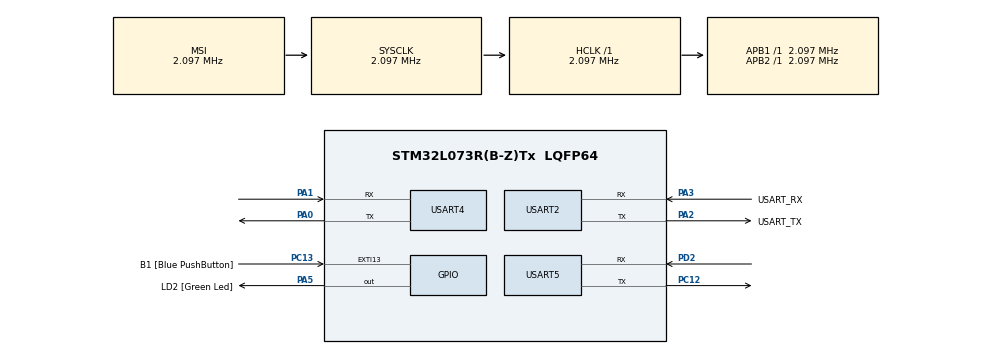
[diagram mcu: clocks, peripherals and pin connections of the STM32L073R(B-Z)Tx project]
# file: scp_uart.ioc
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FREERTOS.Tasks01=Host,40,128,HostTask,Default,NULL,Dynamic,NULL,NULL;Slave,40,128,SlaveTask,Default,NULL,Dynamic,NULL,NULL
FREERTOS.configUSE_NEWLIB_REENTRANT=1
Mcu.Family=STM32L0
Mcu.Name=STM32L073R(B-Z)Tx
Mcu.Package=LQFP64
NVIC.USART4_5_IRQn=true\:3\:0\:false\:false\:true\:true\:true\:true\:true
PA0.Mode=Asynchronous
PA0.Signal=USART4_TX
PA1.Mode=Asynchronous
PA1.Signal=USART4_RX
PA13.GPIO_Label=TMS
PA13.Mode=Serial_Wire
PA13.Signal=SYS_SWDIO
PA14.GPIO_Label=TCK
PA14.Mode=Serial_Wire
PA14.Signal=SYS_SWCLK
PA2.GPIO_Label=USART_TX
PA2.Mode=Asynchronous
PA2.Signal=USART2_TX
PA3.GPIO_Label=USART_RX
PA3.Mode=Asynchronous
PA3.Signal=USART2_RX
PA5.GPIO_Label=LD2 [Green Led]
PA5.Signal=GPIO_Output
PC12.Mode=Asynchronous
PC12.Signal=USART5_TX
PC13.GPIO_Label=B1 [Blue PushButton]
PC13.GPIO_ModeDefaultEXTI=GPIO_MODE_IT_FALLING
PC13.Signal=GPXTI13
PC14-OSC32_IN.Mode=LSE-External-Oscillator
PC14-OSC32_IN.Signal=RCC_OSC32_IN
PC15-OSC32_OUT.Mode=LSE-External-Oscillator
PC15-OSC32_OUT.Signal=RCC_OSC32_OUT
PD2.Mode=Asynchronous
PD2.Signal=USART5_RX
PH0-OSC_IN.Mode=HSE-External-Oscillator
PH0-OSC_IN.Signal=RCC_OSC_IN
PH1-OSC_OUT.Mode=HSE-External-Oscillator
PH1-OSC_OUT.Signal=RCC_OSC_OUT
ProjectManager.HeapSize=0x200
ProjectManager.StackSize=0x400
ProjectManager.TargetToolchain=STM32CubeIDE
RCC.AHBFreq_Value=2097000
RCC.APB1Freq_Value=2097000
RCC.APB1TimFreq_Value=2097000
RCC.APB2Freq_Value=2097000
RCC.APB2TimFreq_Value=2097000
RCC.HSE_VALUE=8000000
RCC.HSI16_VALUE=16000000
RCC.HSI48_VALUE=48000000
RCC.HSI_VALUE=16000000
RCC.MSI_VALUE=2097000
RCC.PLLSourceVirtual=RCC_PLLSOURCE_HSE
RCC.SYSCLKFreq_VALUE=2097000
RCC.VCOOutputFreq_Value=24000000
USART2.VirtualMode-Asynchronous=VM_ASYNC
USART4.VirtualMode-Asynchronous=VM_ASYNC
USART5.VirtualMode-Asynchronous=VM_ASYNC
VP_FREERTOS_VS_CMSIS_V2.Mode=CMSIS_V2
board=NUCLEO-L073RZ

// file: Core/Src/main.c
/* USER CODE BEGIN Header */
/**
  ******************************************************************************
  * @file           : main.c
  * @brief          : Main program body
  ******************************************************************************
  * @attention
  *
  * Copyright (c) 2022 STMicroelectronics.
  * All rights reserved.
  *
  * This software is licensed under terms that can be found in the LICENSE file
  * in the root directory of this software component.
  * If no LICENSE file comes with this software, it is provided AS-IS.
  *
  ******************************************************************************
  */
/* USER CODE END Header */
#include "main.h"
#include "cmsis_os.h"

/* USER CODE BEGIN Includes */
#include "SCP.h"
#include <stdio.h>
#include <string.h>
/* USER CODE END Includes */

/* USER CODE BEGIN PD */
#define READ_SYNC  ( 1 << 0 )
#define WRITE_SYNC ( 1 << 1 )
#define ALL_SYNC ( READ_SYNC | WRITE_SYNC )
/* USER CODE END PD */

UART_HandleTypeDef huart2;
UART_HandleTypeDef huart4;
UART_HandleTypeDef huart5;

/* Definitions for Host */
osThreadId_t HostHandle;
const osThreadAttr_t Host_attributes = {
  .name = "Host",
  .stack_size = 128 * 4,
  .priority = (osPriority_t) osPriorityHigh,
};
/* Definitions for Slave */
osThreadId_t SlaveHandle;
const osThreadAttr_t Slave_attributes = {
  .name = "Slave",
  .stack_size = 128 * 4,
  .priority = (osPriority_t) osPriorityHigh,
};

void SystemClock_Config(void);
static void MX_GPIO_Init(void);
static void MX_USART2_UART_Init(void);
static void MX_USART4_UART_Init(void);
static void MX_USART5_UART_Init(void);
void HostTask(void *argument);
void SlaveTask(void *argument);

/* USER CODE BEGIN PFP */
void HostOut(Host _host);
void SlaveOut(Slave _slave);
/* USER CODE END PFP */

/* USER CODE BEGIN 0 */
uint8_t hostBuffer[1024];
uint8_t slaveBuffer[1024];
char outputBuffer[1024];
const char* timeout = "\r\nResponse waiting timeout\r\n\n";
/* USER CODE END 0 */

int main(void)
{

  /* MCU Configuration--------------------------------------------------------*/

  /* Reset of all peripherals, Initializes the Flash interface and the Systick. */
  HAL_Init();

  /* Configure the system clock */
  SystemClock_Config();

  /* Initialize all configured peripherals */
  MX_GPIO_Init();
  MX_USART2_UART_Init();
  MX_USART4_UART_Init();
  MX_USART5_UART_Init();
  /* USER CODE BEGIN 2 */
    const char* reset = "\r\nRESET\r\n";
    HAL_UART_Transmit(&huart2, (uint8_t*)reset, 9, 10);

  /* USER CODE END 2 */

  /* Init scheduler */
  osKernelInitialize();

  /* Create the thread(s) */
  /* creation of Host */
  HostHandle = osThreadNew(HostTask, NULL, &Host_attributes);

  /* creation of Slave */
  SlaveHandle = osThreadNew(SlaveTask, NULL, &Slave_attributes);

  /* Start scheduler */
  osKernelStart();

  /* We should never get here as control is now taken by the scheduler */
  /* Infinite loop */
    while (1)
    {

    }
}

void SystemClock_Config(void)
{
  RCC_OscInitTypeDef RCC_OscInitStruct = {0};
  RCC_ClkInitTypeDef RCC_ClkInitStruct = {0};
  RCC_PeriphCLKInitTypeDef PeriphClkInit = {0};

  /** Configure the main internal regulator output voltage
  */
  __HAL_PWR_VOLTAGESCALING_CONFIG(PWR_REGULATOR_VOLTAGE_SCALE1);

  /** Initializes the RCC Oscillators according to the specified parameters
  * in the RCC_OscInitTypeDef structure.
  */
  RCC_OscInitStruct.OscillatorType = RCC_OSCILLATORTYPE_MSI;
  RCC_OscInitStruct.MSIState = RCC_MSI_ON;
  RCC_OscInitStruct.MSICalibrationValue = 0;
  RCC_OscInitStruct.MSIClockRange = RCC_MSIRANGE_5;
  RCC_OscInitStruct.PLL.PLLState = RCC_PLL_NONE;
  if (HAL_RCC_OscConfig(&RCC_OscInitStruct) != HAL_OK)
  {
    Error_Handler();
  }

  /** Initializes the CPU, AHB and APB buses clocks
  */
  RCC_ClkInitStruct.ClockType = RCC_CLOCKTYPE_HCLK|RCC_CLOCKTYPE_SYSCLK
                              |RCC_CLOCKTYPE_PCLK1|RCC_CLOCKTYPE_PCLK2;
  RCC_ClkInitStruct.SYSCLKSource = RCC_SYSCLKSOURCE_MSI;
  RCC_ClkInitStruct.AHBCLKDivider = RCC_SYSCLK_DIV1;
  RCC_ClkInitStruct.APB1CLKDivider = RCC_HCLK_DIV1;
  RCC_ClkInitStruct.APB2CLKDivider = RCC_HCLK_DIV1;

  if (HAL_RCC_ClockConfig(&RCC_ClkInitStruct, FLASH_LATENCY_0) != HAL_OK)
  {
    Error_Handler();
  }
  PeriphClkInit.PeriphClockSelection = RCC_PERIPHCLK_USART2;
  PeriphClkInit.Usart2ClockSelection = RCC_USART2CLKSOURCE_PCLK1;
  if (HAL_RCCEx_PeriphCLKConfig(&PeriphClkInit) != HAL_OK)
  {
    Error_Handler();
  }
}

static void MX_USART2_UART_Init(void)
{

  huart2.Instance = USART2;
  huart2.Init.BaudRate = 115200;
  huart2.Init.WordLength = UART_WORDLENGTH_8B;
  huart2.Init.StopBits = UART_STOPBITS_1;
  huart2.Init.Parity = UART_PARITY_NONE;
  huart2.Init.Mode = UART_MODE_TX_RX;
  huart2.Init.HwFlowCtl = UART_HWCONTROL_NONE;
  huart2.Init.OverSampling = UART_OVERSAMPLING_16;
  huart2.Init.OneBitSampling = UART_ONE_BIT_SAMPLE_DISABLE;
  huart2.AdvancedInit.AdvFeatureInit = UART_ADVFEATURE_NO_INIT;
  if (HAL_UART_Init(&huart2) != HAL_OK)
  {
    Error_Handler();
  }

}

static void MX_USART4_UART_Init(void)
{

  huart4.Instance = USART4;
  huart4.Init.BaudRate = 115200;
  huart4.Init.WordLength = UART_WORDLENGTH_8B;
  huart4.Init.StopBits = UART_STOPBITS_1;
  huart4.Init.Parity = UART_PARITY_NONE;
  huart4.Init.Mode = UART_MODE_TX_RX;
  huart4.Init.HwFlowCtl = UART_HWCONTROL_NONE;
  huart4.Init.OverSampling = UART_OVERSAMPLING_16;
  huart4.Init.OneBitSampling = UART_ONE_BIT_SAMPLE_DISABLE;
  huart4.AdvancedInit.AdvFeatureInit = UART_ADVFEATURE_NO_INIT;
  if (HAL_UART_Init(&huart4) != HAL_OK)
  {
    Error_Handler();
  }

}

static void MX_USART5_UART_Init(void)
{

  huart5.Instance = USART5;
  huart5.Init.BaudRate = 115200;
  huart5.Init.WordLength = UART_WORDLENGTH_8B;
  huart5.Init.StopBits = UART_STOPBITS_1;
  huart5.Init.Parity = UART_PARITY_NONE;
  huart5.Init.Mode = UART_MODE_TX_RX;
  huart5.Init.HwFlowCtl = UART_HWCONTROL_NONE;
  huart5.Init.OverSampling = UART_OVERSAMPLING_16;
  huart5.Init.OneBitSampling = UART_ONE_BIT_SAMPLE_DISABLE;
  huart5.AdvancedInit.AdvFeatureInit = UART_ADVFEATURE_NO_INIT;
  if (HAL_UART_Init(&huart5) != HAL_OK)
  {
    Error_Handler();
  }

}

static void MX_GPIO_Init(void)
{
  GPIO_InitTypeDef GPIO_InitStruct = {0};

  /* GPIO Ports Clock Enable */
  __HAL_RCC_GPIOC_CLK_ENABLE();
  __HAL_RCC_GPIOH_CLK_ENABLE();
  __HAL_RCC_GPIOA_CLK_ENABLE();
  __HAL_RCC_GPIOD_CLK_ENABLE();

  /*Configure GPIO pin Output Level */
  HAL_GPIO_WritePin(LD2_GPIO_Port, LD2_Pin, GPIO_PIN_RESET);

  /*Configure GPIO pin : B1_Pin */
  GPIO_InitStruct.Pin = B1_Pin;
  GPIO_InitStruct.Mode = GPIO_MODE_IT_FALLING;
  GPIO_InitStruct.Pull = GPIO_NOPULL;
  HAL_GPIO_Init(B1_GPIO_Port, &GPIO_InitStruct);

  /*Configure GPIO pin : LD2_Pin */
  GPIO_InitStruct.Pin = LD2_Pin;
  GPIO_InitStruct.Mode = GPIO_MODE_OUTPUT_PP;
  GPIO_InitStruct.Pull = GPIO_NOPULL;
  GPIO_InitStruct.Speed = GPIO_SPEED_FREQ_LOW;
  HAL_GPIO_Init(LD2_GPIO_Port, &GPIO_InitStruct);

}

/* USER CODE BEGIN 4 */
void HostOut(Host _host) {

    uint16_t len = 0;

    strncpy(outputBuffer, "Host: ", 7);
    HAL_UART_Transmit(&huart2, (uint8_t*)outputBuffer, 6, 100);
    if(REQ_TYPE(_host)) {
        //read
        strncpy(outputBuffer, "(read)\r\nRegister: ", 19);
        HAL_UART_Transmit(&huart2, (uint8_t*)outputBuffer, 18, 100);

    } else {
        strncpy(outputBuffer, "(write)\r\nRegister: ", 20);
        HAL_UART_Transmit(&huart2, (uint8_t*)outputBuffer, 19, 100);
    }
    len = sprintf(outputBuffer, "%u", _host.header.cmd1);
    HAL_UART_Transmit(&huart2, (uint8_t*)outputBuffer, len, 100);
    strncpy(outputBuffer, "\r\nData: ",9);
    HAL_UART_Transmit(&huart2, (uint8_t*)outputBuffer, 8, 100);

    len = _host.header.cmd2;

    int index = 0;
    for (int i=0; i<len; i++)
        index += sprintf(&outputBuffer[index], "%u ", *(GET_DATA_PTR(_host) + i));
    index += sprintf(&outputBuffer[index], "\r\n\n ");

    HAL_UART_Transmit(&huart2, (uint8_t*)outputBuffer, index, 100);

}

void SlaveOut(Slave _slave) {

    uint16_t len = 0;

    strncpy(outputBuffer, "Slave: ", 8);
    HAL_UART_Transmit(&huart2, (uint8_t*)outputBuffer, 7, 100);
    if(REQ_TYPE(_slave)) {
        //read
        strncpy(outputBuffer, "(read)\r\nRegister: ", 19);
        HAL_UART_Transmit(&huart2, (uint8_t*)outputBuffer, 18, 100);

    } else {
        strncpy(outputBuffer, "(write)\r\nRegister: ", 20);
        HAL_UART_Transmit(&huart2, (uint8_t*)outputBuffer, 19, 100);
    }
    len = sprintf(outputBuffer, "%u", _slave.header.cmd1);
    HAL_UART_Transmit(&huart2, (uint8_t*)outputBuffer, len, 100);
    strncpy(outputBuffer, "\r\nData: ", 9);
    HAL_UART_Transmit(&huart2, (uint8_t*)outputBuffer, 8, 100);

    len = _slave.header.cmd2;

    int index = 0;
    for (int i=0; i<len; i++)
        index += sprintf(&outputBuffer[index], "%u ", *(GET_DATA_PTR(_slave) + i));
    index += sprintf(&outputBuffer[index], "\r\n\n ");

    HAL_UART_Transmit(&huart2, (uint8_t*)outputBuffer, index, 100);

}

/* USER CODE END 4 */

void HostTask(void *argument)
{
  /* USER CODE BEGIN 5 */
    /* Infinite loop */

    Host pc;
    uint8_t byte = 0;
    uint8_t* data;
    TickType_t currentTick;

    for(;;)
    {
        CreateHost(&pc, hostBuffer, 1024, addr_linux, 0x18, REQR);
        HostOut(pc);

        data = pc.CreateRequest(&pc);

        for(int i = 0; i < REQUEST_SIZE(pc); i++) {
        	byte =  *(data + i);
        	HAL_UART_Transmit_IT(&huart4, data +i, 1);
        }

        while(pc.header.mode != finish)
        	if (HAL_UART_Receive_IT(&huart4, &byte, 1) == HAL_OK)
        	    pc.Read(&pc, byte);

        if(pc.IsValid(&pc) == no_error) {

            //OUTPUT
        }
        currentTick = xTaskGetTickCount();
        while((xTaskGetTickCount()- currentTick) < (1000));

        CreateHost(&pc, hostBuffer, 1024, addr_linux, 0x18, REQW);
        byte = 0x33;
        pc.WriteData(&pc, &byte, 1);
        HostOut(pc);
        data = pc.CreateRequest(&pc);

        for(int i = 0; i < REQUEST_SIZE(pc); i++)
            HAL_UART_Transmit_IT(&huart4, data+i, 1);

        while(pc.header.mode != finish)
            if (HAL_UART_Receive_IT(&huart4, &byte, 1) == HAL_OK)
                pc.Read(&pc, byte);

        if(pc.IsValid(&pc) == no_error) {

            //OUTPUT
        }

        currentTick = xTaskGetTickCount();
        while((xTaskGetTickCount()- currentTick) < (1000));

        //TIMEOUT
        CreateHost(&pc, hostBuffer, 1024, addr_linux, 0x18, REQR);
        HostOut(pc);

        data = pc.CreateRequest(&pc);

        //for(int i = 0; i < REQUEST_SIZE(pc); i++)
        	//HAL_UART_Transmit(&huart2, data + i, 1, 100);

         while(pc.header.mode != finish) {
            if (HAL_UART_Receive(&huart2, &byte, 1, 1) != HAL_TIMEOUT)
               pc.Read(&pc, byte);
            else  {
            	HAL_UART_Transmit(&huart2, (uint8_t*)timeout, 30, 100);
            	break;
            }
         }
         currentTick = xTaskGetTickCount();
         while((xTaskGetTickCount()- currentTick) < (1000));

    }
  /* USER CODE END 5 */
}

void SlaveTask(void *argument)
{
  /* USER CODE BEGIN SlaveTask */
    /* Infinite loop */

    Slave stm;
    uint8_t byte = 0;
    uint8_t* data;

    CreateSlave(&stm, slaveBuffer, 1024);
    for(;;)
    {

        while(stm.header.mode != finish)
            if (HAL_UART_Receive_IT(&huart5, &byte, 1) == HAL_OK)
                stm.Read(&stm, byte);

        if(stm.IsValid(&stm) == no_error) {

            if(REQ_TYPE(stm)) {
                //Read

                //Get register address by GET_REG_ADDR
                byte = 0x34;
                stm.WriteData(&stm, &byte, 1);
                data = stm.CreateResponse(&stm);
                for(int i =0; i < RESPONSE_SIZE(stm); i++)
                    HAL_UART_Transmit_IT(&huart5, data + i, 1);

            } else {
                //Write
                //Get register address by GET_REG_ADDR
                //Get data by GET_DATA_PTR
                data = stm.CreateResponse(&stm);
                for(int i =0; i < RESPONSE_SIZE(stm); i++)
                    HAL_UART_Transmit_IT(&huart5, data + i, 1);

            }

        } else {
            data = stm.CreateResponse(&stm);
            for(int i =0; i < RESPONSE_SIZE(stm); i++)
                HAL_UART_Transmit_IT(&huart5, data + i, 1);

        }
        SlaveOut(stm);
        CreateSlave(&stm, slaveBuffer, 1024);
    }
  /* USER CODE END SlaveTask */
}

void Error_Handler(void)
{
    __disable_irq();
    while (1)
    {
    }
}
